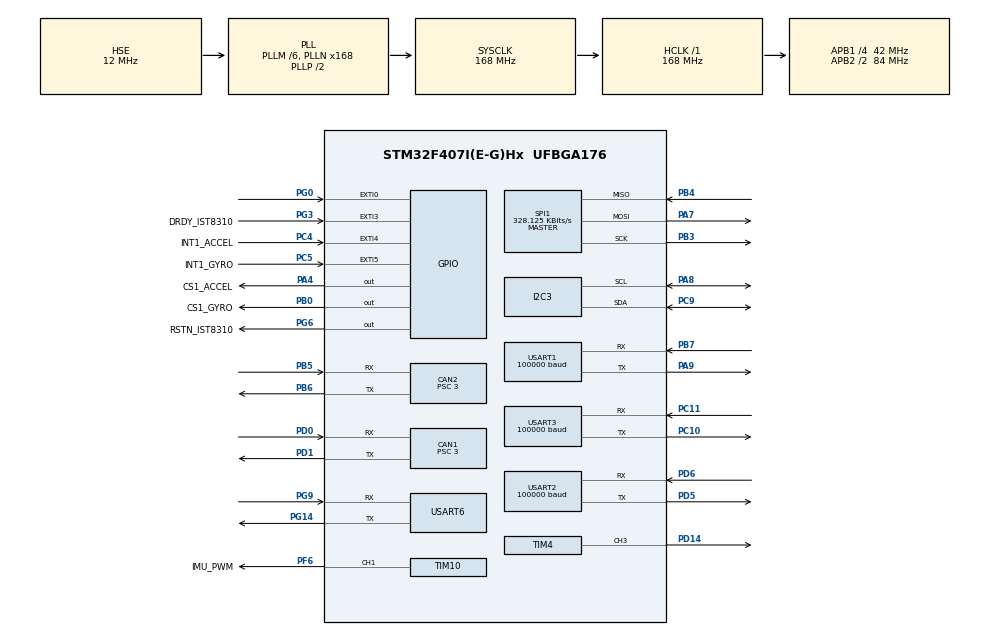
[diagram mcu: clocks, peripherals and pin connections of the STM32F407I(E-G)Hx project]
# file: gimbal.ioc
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CAN1.ABOM=ENABLE
CAN1.BS1=CAN_BS1_5TQ
CAN1.BS2=CAN_BS2_8TQ
CAN1.CalculateBaudRate=1000000
CAN1.CalculateTimeQuantum=71.42857142857143
CAN1.Prescaler=3
CAN2.ABOM=ENABLE
CAN2.BS1=CAN_BS1_5TQ
CAN2.BS2=CAN_BS2_8TQ
CAN2.CalculateBaudRate=1000000
CAN2.CalculateTimeQuantum=71.42857142857143
CAN2.Prescaler=3
Dma.Request0=USART3_RX
Dma.Request1=SPI1_RX
Dma.Request2=SPI1_TX
Dma.Request3=USART6_RX
Dma.Request4=USART1_RX
Dma.Request5=USART1_TX
Dma.Request6=USART6_TX
Dma.SPI1_RX.1.Direction=DMA_PERIPH_TO_MEMORY
Dma.SPI1_RX.1.FIFOMode=DMA_FIFOMODE_DISABLE
Dma.SPI1_RX.1.Instance=DMA2_Stream2
Dma.SPI1_RX.1.MemDataAlignment=DMA_MDATAALIGN_BYTE
Dma.SPI1_RX.1.MemInc=DMA_MINC_ENABLE
Dma.SPI1_RX.1.Mode=DMA_NORMAL
Dma.SPI1_RX.1.PeriphDataAlignment=DMA_PDATAALIGN_BYTE
Dma.SPI1_RX.1.PeriphInc=DMA_PINC_DISABLE
Dma.SPI1_RX.1.Priority=DMA_PRIORITY_VERY_HIGH
Dma.SPI1_TX.2.Direction=DMA_MEMORY_TO_PERIPH
Dma.SPI1_TX.2.FIFOMode=DMA_FIFOMODE_DISABLE
Dma.SPI1_TX.2.Instance=DMA2_Stream3
Dma.SPI1_TX.2.MemDataAlignment=DMA_MDATAALIGN_BYTE
Dma.SPI1_TX.2.MemInc=DMA_MINC_ENABLE
Dma.SPI1_TX.2.Mode=DMA_NORMAL
Dma.SPI1_TX.2.PeriphDataAlignment=DMA_PDATAALIGN_BYTE
Dma.SPI1_TX.2.PeriphInc=DMA_PINC_DISABLE
Dma.SPI1_TX.2.Priority=DMA_PRIORITY_HIGH
Dma.USART1_RX.4.Direction=DMA_PERIPH_TO_MEMORY
Dma.USART1_RX.4.FIFOMode=DMA_FIFOMODE_DISABLE
Dma.USART1_RX.4.Instance=DMA2_Stream5
Dma.USART1_RX.4.MemDataAlignment=DMA_MDATAALIGN_BYTE
Dma.USART1_RX.4.MemInc=DMA_MINC_ENABLE
Dma.USART1_RX.4.Mode=DMA_NORMAL
Dma.USART1_RX.4.PeriphDataAlignment=DMA_PDATAALIGN_BYTE
Dma.USART1_RX.4.PeriphInc=DMA_PINC_DISABLE
Dma.USART1_RX.4.Priority=DMA_PRIORITY_HIGH
Dma.USART1_TX.5.Direction=DMA_MEMORY_TO_PERIPH
Dma.USART1_TX.5.FIFOMode=DMA_FIFOMODE_DISABLE
Dma.USART1_TX.5.Instance=DMA2_Stream7
Dma.USART1_TX.5.MemDataAlignment=DMA_MDATAALIGN_BYTE
Dma.USART1_TX.5.MemInc=DMA_MINC_ENABLE
Dma.USART1_TX.5.Mode=DMA_NORMAL
Dma.USART1_TX.5.PeriphDataAlignment=DMA_PDATAALIGN_BYTE
Dma.USART1_TX.5.PeriphInc=DMA_PINC_DISABLE
Dma.USART1_TX.5.Priority=DMA_PRIORITY_MEDIUM
Dma.USART3_RX.0.Direction=DMA_PERIPH_TO_MEMORY
Dma.USART3_RX.0.FIFOMode=DMA_FIFOMODE_DISABLE
Dma.USART3_RX.0.Instance=DMA1_Stream1
Dma.USART3_RX.0.MemDataAlignment=DMA_MDATAALIGN_BYTE
Dma.USART3_RX.0.MemInc=DMA_MINC_ENABLE
Dma.USART3_RX.0.Mode=DMA_CIRCULAR
Dma.USART3_RX.0.PeriphDataAlignment=DMA_PDATAALIGN_BYTE
Dma.USART3_RX.0.PeriphInc=DMA_PINC_DISABLE
Dma.USART3_RX.0.Priority=DMA_PRIORITY_MEDIUM
Dma.USART6_RX.3.Direction=DMA_PERIPH_TO_MEMORY
Dma.USART6_RX.3.FIFOMode=DMA_FIFOMODE_DISABLE
Dma.USART6_RX.3.Instance=DMA2_Stream1
Dma.USART6_RX.3.MemDataAlignment=DMA_MDATAALIGN_BYTE
Dma.USART6_RX.3.MemInc=DMA_MINC_ENABLE
Dma.USART6_RX.3.Mode=DMA_NORMAL
Dma.USART6_RX.3.PeriphDataAlignment=DMA_PDATAALIGN_BYTE
Dma.USART6_RX.3.PeriphInc=DMA_PINC_DISABLE
Dma.USART6_RX.3.Priority=DMA_PRIORITY_HIGH
Dma.USART6_TX.6.Direction=DMA_MEMORY_TO_PERIPH
Dma.USART6_TX.6.FIFOMode=DMA_FIFOMODE_DISABLE
Dma.USART6_TX.6.Instance=DMA2_Stream6
Dma.USART6_TX.6.MemDataAlignment=DMA_MDATAALIGN_BYTE
Dma.USART6_TX.6.MemInc=DMA_MINC_ENABLE
Dma.USART6_TX.6.Mode=DMA_NORMAL
Dma.USART6_TX.6.PeriphDataAlignment=DMA_PDATAALIGN_BYTE
Dma.USART6_TX.6.PeriphInc=DMA_PINC_DISABLE
Dma.USART6_TX.6.Priority=DMA_PRIORITY_LOW
I2C3.I2C_Mode=I2C_Fast
Mcu.Family=STM32F4
Mcu.Name=STM32F407I(E-G)Hx
Mcu.Package=UFBGA176
NVIC.CAN1_RX0_IRQn=true\:1\:0\:true\:false\:true\:true\:true\:true
NVIC.CAN1_TX_IRQn=true\:1\:0\:true\:false\:true\:true\:true\:true
NVIC.CAN2_RX0_IRQn=true\:1\:0\:true\:false\:true\:true\:true\:true
NVIC.DMA1_Stream1_IRQn=true\:0\:0\:false\:false\:true\:false\:true\:true
NVIC.DMA2_Stream1_IRQn=true\:0\:0\:false\:false\:true\:false\:true\:true
NVIC.DMA2_Stream2_IRQn=true\:0\:0\:false\:false\:true\:false\:true\:true
NVIC.DMA2_Stream3_IRQn=true\:0\:0\:false\:false\:true\:false\:true\:true
NVIC.DMA2_Stream5_IRQn=true\:0\:0\:false\:false\:true\:false\:true\:true
NVIC.DMA2_Stream6_IRQn=true\:0\:0\:false\:false\:true\:false\:true\:true
NVIC.DMA2_Stream7_IRQn=true\:0\:0\:false\:false\:true\:false\:true\:true
NVIC.EXTI0_IRQn=true\:2\:0\:true\:false\:true\:true\:true\:true
NVIC.EXTI3_IRQn=true\:1\:0\:true\:false\:true\:true\:true\:true
NVIC.EXTI4_IRQn=true\:1\:0\:true\:false\:true\:true\:true\:true
NVIC.EXTI9_5_IRQn=true\:1\:0\:true\:false\:true\:true\:true\:true
NVIC.PriorityGroup=NVIC_PRIORITYGROUP_2
NVIC.TIM3_IRQn=true\:1\:0\:true\:false\:true\:true\:true\:true
NVIC.USART1_IRQn=true\:1\:0\:true\:false\:true\:true\:true\:true
NVIC.USART2_IRQn=true\:1\:0\:true\:false\:true\:true\:true\:true
NVIC.USART3_IRQn=true\:1\:0\:true\:false\:true\:true\:true\:true
NVIC.USART6_IRQn=true\:0\:0\:false\:false\:true\:true\:true\:true
PA13.Mode=Serial_Wire
PA13.Signal=SYS_JTMS-SWDIO
PA14.Mode=Serial_Wire
PA14.Signal=SYS_JTCK-SWCLK
PA4.GPIO_Label=CS1_ACCEL
PA4.GPIO_PuPd=GPIO_PULLUP
PA4.GPIO_Speed=GPIO_SPEED_FREQ_HIGH
PA4.PinState=GPIO_PIN_SET
PA4.Signal=GPIO_Output
PA7.GPIO_PuPd=GPIO_PULLUP
PA7.Mode=Full_Duplex_Master
PA7.Signal=SPI1_MOSI
PA8.GPIO_Pu=GPIO_PULLUP
PA8.Mode=I2C
PA8.Signal=I2C3_SCL
PA9.Mode=Asynchronous
PA9.Signal=USART1_TX
PB0.GPIO_Label=CS1_GYRO
PB0.GPIO_ModeDefaultOutputPP=GPIO_MODE_OUTPUT_PP
PB0.GPIO_PuPd=GPIO_PULLUP
PB0.GPIO_Speed=GPIO_SPEED_FREQ_HIGH
PB0.PinState=GPIO_PIN_SET
PB0.Signal=GPIO_Output
PB3.GPIO_PuPd=GPIO_PULLUP
PB3.Mode=Full_Duplex_Master
PB3.Signal=SPI1_SCK
PB4.GPIO_PuPd=GPIO_PULLUP
PB4.Mode=Full_Duplex_Master
PB4.Signal=SPI1_MISO
PB5.Mode=CAN_Activate
PB5.Signal=CAN2_RX
PB6.Mode=CAN_Activate
PB6.Signal=CAN2_TX
PB7.Mode=Asynchronous
PB7.Signal=USART1_RX
PC10.Mode=Asynchronous
PC10.Signal=USART3_TX
PC11.Mode=Asynchronous
PC11.Signal=USART3_RX
PC4.GPIO_Label=INT1_ACCEL
PC4.GPIO_PuPd=GPIO_PULLUP
PC4.Signal=GPXTI4
PC5.GPIO_Label=INT1_GYRO
PC5.GPIO_PuPd=GPIO_PULLUP
PC5.Signal=GPXTI5
PC9.GPIO_Pu=GPIO_PULLUP
PC9.Mode=I2C
PC9.Signal=I2C3_SDA
PD0.Mode=CAN_Activate
PD0.Signal=CAN1_RX
PD1.Mode=CAN_Activate
PD1.Signal=CAN1_TX
PD14.Signal=S_TIM4_CH3
PD5.Mode=Asynchronous
PD5.Signal=USART2_TX
PD6.Mode=Asynchronous
PD6.Signal=USART2_RX
PF6.GPIO_Label=IMU_PWM
PF6.GPIO_PuPd=GPIO_PULLUP
PF6.GPIO_Speed=GPIO_SPEED_FREQ_HIGH
PF6.Signal=S_TIM10_CH1
PG0.GPIO_PuPd=GPIO_PULLUP
PG0.Signal=GPXTI0
PG14.Mode=Asynchronous
PG14.Signal=USART6_TX
PG3.GPIO_Label=DRDY_IST8310
PG3.GPIO_PuPd=GPIO_PULLUP
PG3.Signal=GPXTI3
PG6.GPIO_Label=RSTN_IST8310
PG6.GPIO_PuPd=GPIO_PULLUP
PG6.GPIO_Speed=GPIO_SPEED_FREQ_HIGH
PG6.PinState=GPIO_PIN_SET
PG6.Signal=GPIO_Output
PG9.Mode=Asynchronous
PG9.Signal=USART6_RX
PH0-OSC_IN.Mode=HSE-External-Oscillator
PH0-OSC_IN.Signal=RCC_OSC_IN
PH1-OSC_OUT.Mode=HSE-External-Oscillator
PH1-OSC_OUT.Signal=RCC_OSC_OUT
ProjectManager.HeapSize=0x200
ProjectManager.StackSize=0x400
ProjectManager.TargetToolchain=MDK-ARM V5
RCC.48MHZClocksFreq_Value=84000000
RCC.AHBFreq_Value=168000000
RCC.APB1CLKDivider=RCC_HCLK_DIV4
RCC.APB1Freq_Value=42000000
RCC.APB1TimFreq_Value=84000000
RCC.APB2CLKDivider=RCC_HCLK_DIV2
RCC.APB2Freq_Value=84000000
RCC.APB2TimFreq_Value=168000000
RCC.CortexFreq_Value=168000000
RCC.HCLKFreq_Value=168000000
RCC.HSE_VALUE=12000000
RCC.HSI_VALUE=16000000
RCC.LSE_VALUE=32768
RCC.PLLM=6
RCC.PLLN=168
RCC.PLLSourceVirtual=RCC_PLLSOURCE_HSE
RCC.SYSCLKFreq_VALUE=168000000
RCC.SYSCLKSource=RCC_SYSCLKSOURCE_PLLCLK
RCC.VCOOutputFreq_Value=336000000
SH.S_TIM10_CH1.0=TIM10_CH1,PWM Generation1 CH1
SH.S_TIM4_CH3.0=TIM4_CH3,PWM Generation3 CH3
SPI1.BaudRatePrescaler=SPI_BAUDRATEPRESCALER_256
SPI1.CLKPhase=SPI_PHASE_2EDGE
SPI1.CLKPolarity=SPI_POLARITY_HIGH
SPI1.CalculateBaudRate=328.125 KBits/s
SPI1.Direction=SPI_DIRECTION_2LINES
SPI1.Mode=SPI_MODE_MASTER
SPI1.VirtualType=VM_MASTER
TIM10.Channel=TIM_CHANNEL_1
TIM10.OCFastMode_PWM=TIM_OCFAST_DISABLE
TIM10.OCPolarity_1=TIM_OCPOLARITY_HIGH
TIM10.Period=4999
TIM3.AutoReloadPreload=TIM_AUTORELOAD_PRELOAD_ENABLE
TIM3.Period=84-1
TIM3.Prescaler=1000-1
TIM4.Channel-PWM\ Generation3\ CH3=TIM_CHANNEL_3
TIM4.Period=20999
TIM6.Period=1000-1
TIM6.Prescaler=840-1
USART1.BaudRate=100000
USART1.VirtualMode=VM_ASYNC
USART2.BaudRate=100000
USART2.VirtualMode=VM_ASYNC
USART3.BaudRate=100000
USART3.VirtualMode=VM_ASYNC
USART6.VirtualMode=VM_ASYNC
VP_TIM10_VS_ClockSourceINT.Mode=Enable_Timer
VP_TIM3_VS_ClockSourceINT.Mode=Internal
VP_TIM4_VS_ClockSourceINT.Mode=Internal
VP_TIM6_VS_ClockSourceINT.Mode=Enable_Timer
board=custom

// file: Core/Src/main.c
/* USER CODE BEGIN Header */
/**
  ******************************************************************************
  * @file           : main.c
  * @brief          : Main program body
  ******************************************************************************
  * @attention
  *
  * <h2><center>&copy; Copyright (c) 2021 STMicroelectronics.
  * All rights reserved.</center></h2>
  *
  * This software component is licensed by ST under BSD 3-Clause license,
  * the "License"; You may not use this file except in compliance with the
  * License. You may obtain a copy of the License at:
  *                        opensource.org/licenses/BSD-3-Clause
  *
  ******************************************************************************
  */
/* USER CODE END Header */
#include "main.h"
#include "can.h"
#include "dma.h"
#include "i2c.h"
#include "spi.h"
#include "tim.h"
#include "usart.h"
#include "gpio.h"

/* USER CODE BEGIN Includes */
#include "sent_task.h"
#include "led.h"
#include "bsp_can.h"
#include "delay.h"
#include "gimbal_task.h"
#include "chassis_task.h"
#include "shoot_task.h"
#include "bsp_imu.h"
#include "BMI088driver.h"
#include "BSP_UART.h"
#include "blueteeth.h"
#include "BSP_REFEREE.h"
/* USER CODE END Includes */

void SystemClock_Config(void);

/* USER CODE BEGIN 0 */
fp32 gyro[3], accel[3];
/* USER CODE END 0 */

int main(void)
{
  /* USER CODE BEGIN 1 */

    //	char bt_taget_pitch[5];

  /* USER CODE END 1 */

  /* MCU Configuration--------------------------------------------------------*/

  /* Reset of all peripherals, Initializes the Flash interface and the Systick. */
  HAL_Init();

  /* Configure the system clock */
  SystemClock_Config();

  /* USER CODE BEGIN SysInit */
    //fp32 gyro[3], accel[3], temp;
  /* USER CODE END SysInit */

  /* Initialize all configured peripherals */
  MX_GPIO_Init();
  MX_DMA_Init();
  MX_CAN1_Init();
  MX_CAN2_Init();
  MX_TIM3_Init();
  MX_USART2_UART_Init();
  MX_USART1_UART_Init();
  MX_USART3_UART_Init();
  MX_USART6_UART_Init();
  MX_TIM6_Init();
  MX_I2C3_Init();
  MX_SPI1_Init();
  MX_TIM10_Init();

  MX_TIM4_Init();
  /* USER CODE BEGIN 2 */
    Chassis_Mode = CHASSIS_NORMAL;
    HAL_TIM_Base_Start_IT(&htim3);
    HAL_TIM_PWM_Start(&htim4, TIM_CHANNEL_3);

	referee_usart_fifo_init();
	init_referee_struct_data();

    uart_init();
    //   led_init();
    Bsp_canInit();

    delay_init();
    remote_control_init();
    shoot_init();
    Gimbal_Init();
    IMU_Init();
  /* USER CODE END 2 */

  /* Infinite loop */
  /* USER CODE BEGIN WHILE */
    //      while(BMI088_init())
    //    {
    //        ;
    //    }
    // led_on(&led[1]);
    while (1)
    {
    /* USER CODE END WHILE */

    /* USER CODE BEGIN 3 */
        //	     BMI088_read(gyro, accel, &temp);
        //        HAL_Delay(10);
    }
  /* USER CODE END 3 */
}

void SystemClock_Config(void)
{
  RCC_OscInitTypeDef RCC_OscInitStruct = {0};
  RCC_ClkInitTypeDef RCC_ClkInitStruct = {0};

  /** Configure the main internal regulator output voltage
  */
  __HAL_RCC_PWR_CLK_ENABLE();
  __HAL_PWR_VOLTAGESCALING_CONFIG(PWR_REGULATOR_VOLTAGE_SCALE1);

  /** Initializes the RCC Oscillators according to the specified parameters
  * in the RCC_OscInitTypeDef structure.
  */
  RCC_OscInitStruct.OscillatorType = RCC_OSCILLATORTYPE_HSE;
  RCC_OscInitStruct.HSEState = RCC_HSE_ON;
  RCC_OscInitStruct.PLL.PLLState = RCC_PLL_ON;
  RCC_OscInitStruct.PLL.PLLSource = RCC_PLLSOURCE_HSE;
  RCC_OscInitStruct.PLL.PLLM = 6;
  RCC_OscInitStruct.PLL.PLLN = 168;
  RCC_OscInitStruct.PLL.PLLP = RCC_PLLP_DIV2;
  RCC_OscInitStruct.PLL.PLLQ = 4;
  if (HAL_RCC_OscConfig(&RCC_OscInitStruct) != HAL_OK)
  {
    Error_Handler();
  }

  /** Initializes the CPU, AHB and APB buses clocks
  */
  RCC_ClkInitStruct.ClockType = RCC_CLOCKTYPE_HCLK|RCC_CLOCKTYPE_SYSCLK
                              |RCC_CLOCKTYPE_PCLK1|RCC_CLOCKTYPE_PCLK2;
  RCC_ClkInitStruct.SYSCLKSource = RCC_SYSCLKSOURCE_PLLCLK;
  RCC_ClkInitStruct.AHBCLKDivider = RCC_SYSCLK_DIV1;
  RCC_ClkInitStruct.APB1CLKDivider = RCC_HCLK_DIV4;
  RCC_ClkInitStruct.APB2CLKDivider = RCC_HCLK_DIV2;

  if (HAL_RCC_ClockConfig(&RCC_ClkInitStruct, FLASH_LATENCY_5) != HAL_OK)
  {
    Error_Handler();
  }
}

void Error_Handler(void)
{
}
